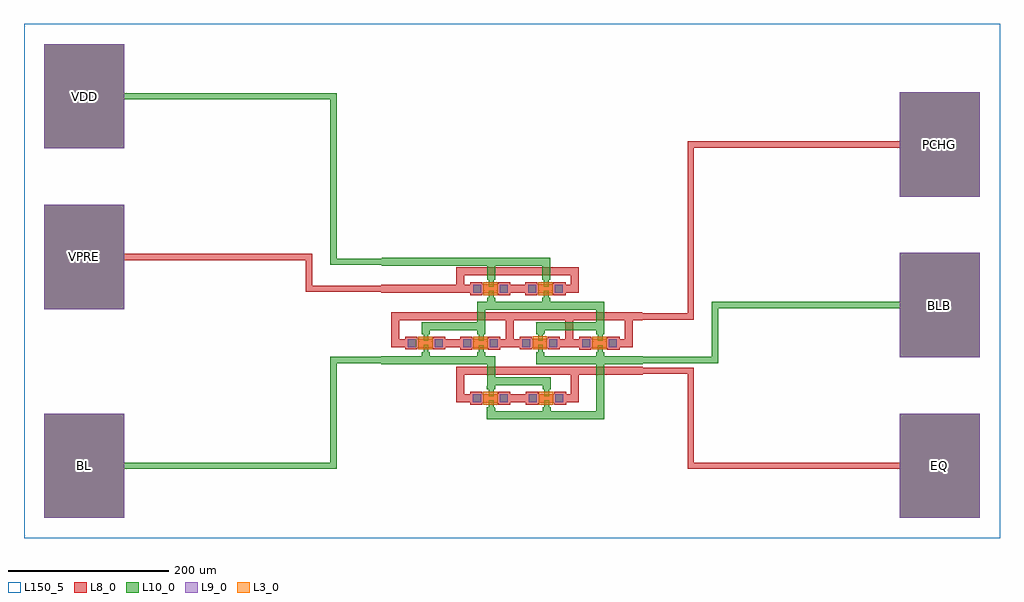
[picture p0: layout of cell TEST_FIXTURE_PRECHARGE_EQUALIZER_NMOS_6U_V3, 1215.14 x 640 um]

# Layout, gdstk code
from math import pi, radians
import gdstk
lib = gdstk.Library(unit=1e-6, precision=5e-10)
def R(c, l, rs):  # rectangles x0, y0, x1, y1
    for r in rs: c.add(gdstk.rectangle(r[:2], r[2:], *l))
def P(c, l, *ps):  # polygons
    for p in ps: c.add(gdstk.Polygon(p, *l))
L3_0 = (3, 0)
L8_0 = (8, 0)
L9_0 = (9, 0)
L10_0 = (10, 0)
L150_5 = (150, 5)

m2_m1_cdns_783101036370 = lib.new_cell('M2_M1_CDNS_783101036370')
R(m2_m1_cdns_783101036370, L8_0, [(-5,-5.035,5,5.035)])
R(m2_m1_cdns_783101036370, L9_0, [(-5,-5,5,5)])
R(m2_m1_cdns_783101036370, L10_0, [(-5,-5.035,5,5.035)])

nfet_w6u_l5 = lib.new_cell('nfet_W6u_L5')
R(nfet_w6u_l5, L3_0, [(7.242,20.233,23.242,38.258)])
R(nfet_w6u_l5, L8_0, [(10.03,0.31,20.082,6.16), (13.785,0.4425,16.285,2.9425), (10.03,53.308,20.082,59.157), (13.6925,56.505,16.1925,59.005)])
P(nfet_w6u_l5, L8_0, [(7.092,4.248),(7.092,19.275),(9.5,19.275),(9.5,39.218),(7.092,39.218),(7.092,54.245),(23.093,54.245),(23.093,39.218),(20.5,39.218),(20.5,19.275),(23.093,19.275),(23.093,4.248)])
R(nfet_w6u_l5, L10_0, [(0.28,23.387,3.85,33.373), (26.327,23.387,29.897,33.373), (2.698,25.235,12.697,31.235), (17.722,25.235,27.722,31.235), (0.4175,27.32,2.9175,29.82), (27.285,27.3325,29.785,29.8325)])
nfet_w6u_l5.add(gdstk.Reference(m2_m1_cdns_783101036370, (15.12,12.68)))
nfet_w6u_l5.add(gdstk.Reference(m2_m1_cdns_783101036370, (15.12,45.795)))

precharge_equalizer_nmos = lib.new_cell('precharge_equalizer_nmos_6u')
R(precharge_equalizer_nmos, L8_0, [(73.095,338.8125,83.1325,383.2925), (215.5825,338.8125,225.62,383.2925), (73.1025,338.8475,88.2825,348.885), (141.7,338.8475,157.6125,348.885), (210.4225,338.8475,225.6025,348.885), (73.1025,373.245,305.0625,383.2825), (292.6175,376.945,295.1175,379.445), (-7.8175,407.6725,2.22,451.0125), (134.5225,407.6725,144.56,451.0125), (208.82,407.6725,218.8575,451.0125), (282.77,407.6725,292.8075,451.0125), (-7.86,407.6775,7.2425,417.715), (60.8325,407.6775,75.935,417.715), (129.4775,407.6775,149.785,417.715), (203.3375,407.6775,223.645,417.715), (277.7225,407.6775,292.825,417.715), (-7.8175,440.9775,304.9475,451.015), (292.7625,445.01,295.2625,447.51), (73.095,475.2825,83.1325,507.105), (215.5825,475.2825,225.62,507.105), (-20.075,475.3175,88.2825,485.355), (141.785,475.3175,156.965,485.355), (210.4225,475.3175,225.6025,485.355), (-9.45,479.395,-6.95,481.895), (73.1025,497.035,225.39,507.0725)])
R(precharge_equalizer_nmos, L10_0, [(111.35,317.6625,257.19,327.6325), (180.7675,317.6625,190.7375,331.59), (247.31,317.6625,257.28,400.565), (111.37,317.6875,121.34,331.72), (111.455,356.1325,121.425,396.5), (180.8525,356.2625,190.8225,370.19), (111.435,360.22,190.8,370.19), (-20.0375,386.5275,121.4225,396.5), (99.0375,386.5275,109.0075,400.565), (172.9225,386.5275,305.0525,396.5), (30.425,386.5325,40.395,400.565), (172.9225,386.5325,182.8925,400.565), (-9.4725,390.46,-6.9725,392.96), (292.765,390.7725,295.265,393.2725), (30.425,424.905,40.395,438.9375), (99.0375,424.905,109.0075,464.0425), (172.995,424.905,182.965,438.9375), (247.2825,424.905,257.2525,464.0425), (30.425,428.97,109.0075,438.9425), (172.995,428.97,257.2525,438.9425), (99.0325,454.1475,257.2375,464.12), (180.0425,454.1475,190.0125,468.185), (111.43,454.1525,121.4,468.185), (111.43,492.5675,121.4,518.9025), (180.0425,492.5675,190.0125,518.94), (-19.9775,508.9775,190.01,518.9475), (-9.41,513.1025,-6.91,515.6025)])
precharge_equalizer_nmos.add(gdstk.Reference(nfet_w6u_l5, (214.1125,328.81), rotation=pi/2))
precharge_equalizer_nmos.add(gdstk.Reference(nfet_w6u_l5, (144.7075,328.8025), rotation=pi/2))
precharge_equalizer_nmos.add(gdstk.Reference(nfet_w6u_l5, (206.2825,397.6625), rotation=pi/2))
precharge_equalizer_nmos.add(gdstk.Reference(nfet_w6u_l5, (280.6425,397.615), rotation=pi/2))
precharge_equalizer_nmos.add(gdstk.Reference(nfet_w6u_l5, (132.42,397.6125), rotation=pi/2))
precharge_equalizer_nmos.add(gdstk.Reference(nfet_w6u_l5, (63.7625,397.655), rotation=pi/2))
precharge_equalizer_nmos.add(gdstk.Reference(nfet_w6u_l5, (213.42,465.2825), rotation=pi/2))
precharge_equalizer_nmos.add(gdstk.Reference(nfet_w6u_l5, (144.7875,465.2775), rotation=pi/2))
precharge_equalizer_nmos.add(gdstk.Label('VPRE', (-2.547,480.651), layer=8, texttype=0))
precharge_equalizer_nmos.add(gdstk.Label('PCHG', (299.46,446.299), layer=8, texttype=0))
precharge_equalizer_nmos.add(gdstk.Label('EQ', (299.691,378.248), layer=8, texttype=0))
precharge_equalizer_nmos.add(gdstk.Label('VDD', (-15.216,514.684), layer=10, texttype=0))
precharge_equalizer_nmos.add(gdstk.Label('BL', (-14.465,391.897), layer=10, texttype=0))
precharge_equalizer_nmos.add(gdstk.Label('BLB', (299.939,391.855), layer=10, texttype=0))

wl_pad = lib.new_cell('wl_pad')
R(wl_pad, L8_0, [(0,0,100,130)])
R(wl_pad, L9_0, [(0,0,100,130)])
R(wl_pad, L10_0, [(0,0,100,130)])

test_fixture_precharge_e = lib.new_cell('TEST_FIXTURE_PRECHARGE_EQUALIZER_NMOS_6U_V3')
R(test_fixture_precharge_e, L8_0, [(639.0625,216,711.0625,304), (361,256,679.0625,264), (361,256,369,382.264), (291.0625,374.264,369,382.264), (290.9475,441.9965,369,449.9965), (361,441.9965,369,664), (-426.075,476,-354.075,564), (-114,476.336,-106,524), (-114,476.336,-6.075,484.336), (-394.075,516,-106,524), (639.0625,616,711.0625,704), (361,656,679.0625,664)])
R(test_fixture_precharge_e, L10_0, [(-426.075,216,-354.075,304), (-394.075,256,-76,264), (-84,256,-76,395.514), (-84,387.514,-6.0375,395.514), (291.0525,387.514,399,395.514), (391,387.514,399,464), (639.0625,416,711.0625,504), (391,456,679.0625,464), (-84,509.9625,-76,724), (-84,509.9625,-5.9775,517.9625), (-426.075,676,-354.075,764), (-394.075,716,-76,724)])
R(test_fixture_precharge_e, L150_5, [(-465.075,170,750.0625,810)])
test_fixture_precharge_e.add(gdstk.Reference(precharge_equalizer_nmos, (0,0)))
test_fixture_precharge_e.add(gdstk.Reference(wl_pad, (-440.075,655)))
test_fixture_precharge_e.add(gdstk.Reference(wl_pad, (-440.075,455)))
test_fixture_precharge_e.add(gdstk.Reference(wl_pad, (-440.075,195)))
test_fixture_precharge_e.add(gdstk.Reference(wl_pad, (625.0625,595)))
test_fixture_precharge_e.add(gdstk.Reference(wl_pad, (625.0625,395)))
test_fixture_precharge_e.add(gdstk.Reference(wl_pad, (625.0625,195)))
test_fixture_precharge_e.add(gdstk.Label('VDD', (-390.075,720), layer=10, texttype=0))
test_fixture_precharge_e.add(gdstk.Label('VPRE', (-390.075,520), layer=8, texttype=0))
test_fixture_precharge_e.add(gdstk.Label('BL', (-390.075,260), layer=10, texttype=0))
test_fixture_precharge_e.add(gdstk.Label('PCHG', (675.0625,660), layer=8, texttype=0))
test_fixture_precharge_e.add(gdstk.Label('BLB', (675.0625,460), layer=10, texttype=0))
test_fixture_precharge_e.add(gdstk.Label('EQ', (675.0625,260), layer=8, texttype=0))
test_fixture_precharge_e.add(gdstk.Label('TEST_FIXTURE_PRECHARGE_EQUALIZER_NMOS_6U_V3', (-465.075,845), layer=230, texttype=0))

lib.write_gds('TEST_FIXTURE_PRECHARGE_EQUALIZER_NMOS_6U_V3.gds')
